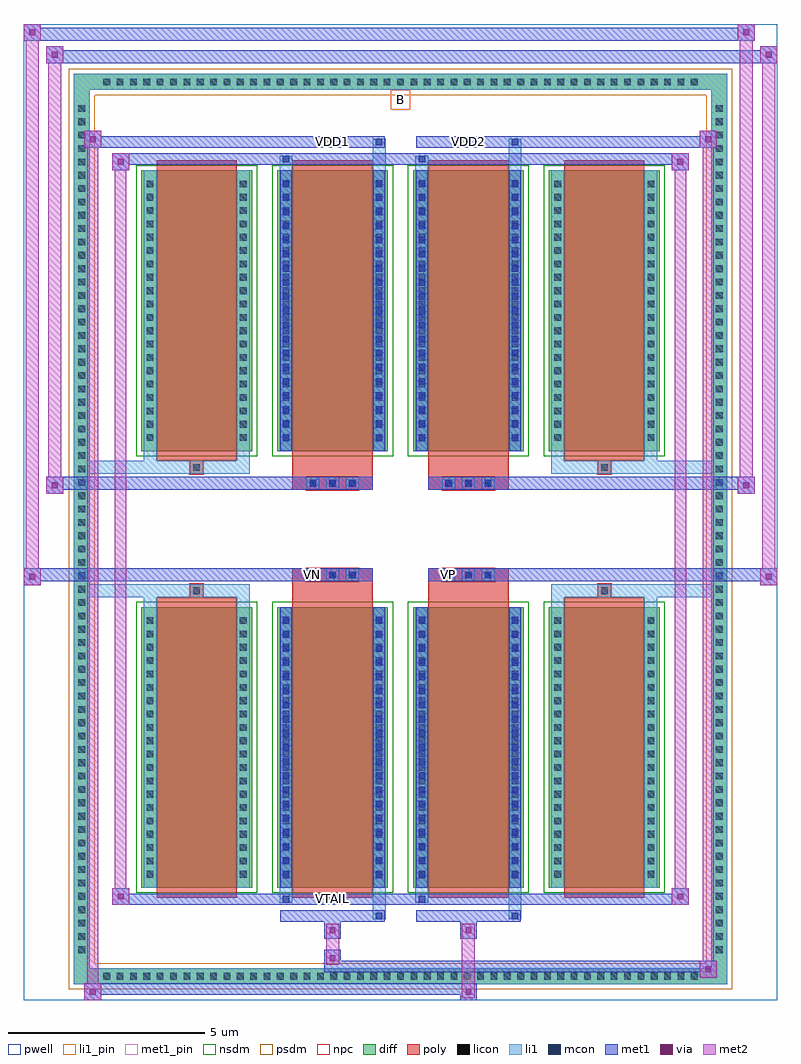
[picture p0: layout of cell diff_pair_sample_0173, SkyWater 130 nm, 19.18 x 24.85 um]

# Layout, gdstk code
import gdstk
lib = gdstk.Library(unit=1e-6, precision=5e-09)
def R(c, l, rs):  # rectangles x0, y0, x1, y1
    for r in rs: c.add(gdstk.rectangle(r[:2], r[2:], *l))
def A(c, l, x, y, w, h, nx, ny, dx, dy):  # array of equal rectangles
    R(c, l, [(x+i*dx, y+j*dy, x+i*dx+w, y+j*dy+h) for i in range(nx) for j in range(ny)])
def P(c, l, *ps):  # polygons
    for p in ps: c.add(gdstk.Polygon(p, *l))
pwell = (64, 44)
diff = (65, 20)
poly = (66, 20)
licon = (66, 44)
li1_pin = (67, 16)
li1 = (67, 20)
mcon = (67, 44)
met1_pin = (68, 16)
met1 = (68, 20)
via = (68, 44)
met2 = (69, 20)
nsdm = (93, 44)
psdm = (94, 20)
npc = (95, 20)

diff_pair_sample_0173 = lib.new_cell('diff_pair_sample_0173')
R(diff_pair_sample_0173, pwell, [(-9.59,-11.99,9.59,12.86), (-6.91,-10.18,-0.01,-0.8), (0.01,-10.18,6.91,-0.8), (-6.91,0.8,-0.01,10.18), (0.01,0.8,6.91,10.18)])
A(diff_pair_sample_0173, diff, -7.685, -11.59, 0.41, 0.41, 45, 2, 0.34, 22.77)
A(diff_pair_sample_0173, diff, -8.32, -10.915, 0.41, 0.41, 1, 64, 0, 0.34)
A(diff_pair_sample_0173, diff, 7.91, -10.915, 0.41, 0.41, 1, 64, 0, 0.34)
A(diff_pair_sample_0173, diff, -6.6, -9.135, 2.82, 7.15, 4, 2, 3.46, 11.12)
R(diff_pair_sample_0173, diff, [(-7.685,-11.59,7.685,-11.18), (-8.32,-10.915,-7.91,10.915), (7.91,-10.915,8.32,10.915), (-7.685,11.18,7.685,11.59)])
P(diff_pair_sample_0173, diff, [(8.32,11.59),(-8.32,11.59),(-8.32,-11.18),(-7.91,-11.18),(-7.91,11.18),(7.91,11.18),(7.91,-11.18),(-7.91,-11.18),(-8.32,-11.18),(-8.32,-11.59),(8.32,-11.59)])
A(diff_pair_sample_0173, poly, -6.21, -9.385, 2.04, 7.65, 4, 2, 3.46, 11.12)
A(diff_pair_sample_0173, poly, -2.395, -1.33, 0.33, 0.33, 3, 2, 0.5, 2.33)
A(diff_pair_sample_0173, poly, 1.065, -1.33, 0.33, 0.33, 3, 2, 0.5, 2.33)
R(diff_pair_sample_0173, poly, [(-5.355,-1.735,-5.025,-1.405), (-5.355,-1.735,-5.025,-1.405), (-2.75,-1.735,-0.71,-1.33), (0.71,-1.735,2.75,-1.33), (5.025,-1.735,5.355,-1.405), (5.025,-1.735,5.355,-1.405), (-2.75,-1.33,-0.71,-1), (0.71,-1.33,2.75,-1), (-2.75,1,-0.71,1.33), (0.71,1,2.75,1.33), (-2.75,1.33,-0.71,1.735), (0.71,1.33,2.75,1.735), (-5.355,1.405,-5.025,1.735), (-5.355,1.405,-5.025,1.735), (5.025,1.405,5.355,1.735), (5.025,1.405,5.355,1.735)])
A(diff_pair_sample_0173, licon, -7.565, -11.47, 0.17, 0.17, 45, 2, 0.34, 22.77)
A(diff_pair_sample_0173, licon, -8.2, -10.795, 0.17, 0.17, 1, 64, 0, 0.34)
A(diff_pair_sample_0173, licon, 8.03, -10.795, 0.17, 0.17, 1, 64, 0, 0.34)
A(diff_pair_sample_0173, licon, -6.46, -8.875, 0.17, 0.17, 1, 20, 0, 0.34)
A(diff_pair_sample_0173, licon, -4.09, -8.875, 0.17, 0.17, 1, 20, 0, 0.34)
A(diff_pair_sample_0173, licon, -3, -8.875, 0.17, 0.17, 1, 20, 0, 0.34)
A(diff_pair_sample_0173, licon, -0.63, -8.875, 0.17, 0.17, 1, 20, 0, 0.34)
A(diff_pair_sample_0173, licon, 0.46, -8.875, 0.17, 0.17, 1, 20, 0, 0.34)
A(diff_pair_sample_0173, licon, 2.83, -8.875, 0.17, 0.17, 1, 20, 0, 0.34)
A(diff_pair_sample_0173, licon, 3.92, -8.875, 0.17, 0.17, 1, 20, 0, 0.34)
A(diff_pair_sample_0173, licon, 6.29, -8.875, 0.17, 0.17, 1, 20, 0, 0.34)
A(diff_pair_sample_0173, licon, -2.315, -1.25, 0.17, 0.17, 3, 2, 0.5, 2.33)
A(diff_pair_sample_0173, licon, 1.145, -1.25, 0.17, 0.17, 3, 2, 0.5, 2.33)
A(diff_pair_sample_0173, licon, -6.46, 2.245, 0.17, 0.17, 1, 20, 0, 0.34)
A(diff_pair_sample_0173, licon, -4.09, 2.245, 0.17, 0.17, 1, 20, 0, 0.34)
A(diff_pair_sample_0173, licon, -3, 2.245, 0.17, 0.17, 1, 20, 0, 0.34)
A(diff_pair_sample_0173, licon, -0.63, 2.245, 0.17, 0.17, 1, 20, 0, 0.34)
A(diff_pair_sample_0173, licon, 0.46, 2.245, 0.17, 0.17, 1, 20, 0, 0.34)
A(diff_pair_sample_0173, licon, 2.83, 2.245, 0.17, 0.17, 1, 20, 0, 0.34)
A(diff_pair_sample_0173, licon, 3.92, 2.245, 0.17, 0.17, 1, 20, 0, 0.34)
A(diff_pair_sample_0173, licon, 6.29, 2.245, 0.17, 0.17, 1, 20, 0, 0.34)
R(diff_pair_sample_0173, licon, [(-5.275,-1.655,-5.105,-1.485), (5.105,-1.655,5.275,-1.485), (-5.275,1.485,-5.105,1.655), (5.105,1.485,5.275,1.655)])
R(diff_pair_sample_0173, li1_pin, [(-0.25,10.68,0.25,11.18)])
A(diff_pair_sample_0173, li1, -7.645, -11.55, 0.33, 0.33, 45, 2, 0.34, 22.77)
A(diff_pair_sample_0173, li1, -8.28, -10.875, 0.33, 0.33, 1, 64, 0, 0.34)
A(diff_pair_sample_0173, li1, 7.95, -10.875, 0.33, 0.33, 1, 64, 0, 0.34)
A(diff_pair_sample_0173, li1, -6.54, -8.955, 0.33, 0.33, 1, 20, 0, 0.34)
A(diff_pair_sample_0173, li1, -4.17, -8.955, 0.33, 0.33, 1, 20, 0, 0.34)
A(diff_pair_sample_0173, li1, -3.08, -8.955, 0.33, 0.33, 1, 20, 0, 0.34)
A(diff_pair_sample_0173, li1, -0.71, -8.955, 0.33, 0.33, 1, 20, 0, 0.34)
A(diff_pair_sample_0173, li1, 0.38, -8.955, 0.33, 0.33, 1, 20, 0, 0.34)
A(diff_pair_sample_0173, li1, 2.75, -8.955, 0.33, 0.33, 1, 20, 0, 0.34)
A(diff_pair_sample_0173, li1, 3.84, -8.955, 0.33, 0.33, 1, 20, 0, 0.34)
A(diff_pair_sample_0173, li1, 6.21, -8.955, 0.33, 0.33, 1, 20, 0, 0.34)
A(diff_pair_sample_0173, li1, -3, -8.885, 0.17, 0.17, 1, 19, 0, 0.36)
A(diff_pair_sample_0173, li1, -0.63, -8.885, 0.17, 0.17, 1, 19, 0, 0.36)
A(diff_pair_sample_0173, li1, 0.46, -8.885, 0.17, 0.17, 1, 19, 0, 0.36)
A(diff_pair_sample_0173, li1, 2.83, -8.885, 0.17, 0.17, 1, 19, 0, 0.36)
A(diff_pair_sample_0173, li1, -2.395, -1.33, 0.33, 0.33, 3, 2, 0.5, 2.33)
A(diff_pair_sample_0173, li1, 1.065, -1.33, 0.33, 0.33, 3, 2, 0.5, 2.33)
A(diff_pair_sample_0173, li1, -6.54, 2.165, 0.33, 0.33, 1, 20, 0, 0.34)
A(diff_pair_sample_0173, li1, -4.17, 2.165, 0.33, 0.33, 1, 20, 0, 0.34)
A(diff_pair_sample_0173, li1, -3.08, 2.165, 0.33, 0.33, 1, 20, 0, 0.34)
A(diff_pair_sample_0173, li1, -0.71, 2.165, 0.33, 0.33, 1, 20, 0, 0.34)
A(diff_pair_sample_0173, li1, 0.38, 2.165, 0.33, 0.33, 1, 20, 0, 0.34)
A(diff_pair_sample_0173, li1, 2.75, 2.165, 0.33, 0.33, 1, 20, 0, 0.34)
A(diff_pair_sample_0173, li1, 3.84, 2.165, 0.33, 0.33, 1, 20, 0, 0.34)
A(diff_pair_sample_0173, li1, 6.21, 2.165, 0.33, 0.33, 1, 20, 0, 0.34)
A(diff_pair_sample_0173, li1, -3, 2.235, 0.17, 0.17, 1, 19, 0, 0.36)
A(diff_pair_sample_0173, li1, -0.63, 2.235, 0.17, 0.17, 1, 19, 0, 0.36)
A(diff_pair_sample_0173, li1, 0.46, 2.235, 0.17, 0.17, 1, 19, 0, 0.36)
A(diff_pair_sample_0173, li1, 2.83, 2.235, 0.17, 0.17, 1, 19, 0, 0.36)
R(diff_pair_sample_0173, li1, [(-8.32,-11.59,-7.91,-11.18), (-8.32,-11.59,-7.91,-11.18), (-7.91,-11.59,7.91,-11.18), (7.91,-11.59,8.32,-11.18), (7.91,-11.59,8.32,-11.18), (-8.32,-11.18,-7.91,11.18), (7.91,-11.18,8.32,11.18), (-0.71,-9.94,-0.38,-9.135), (-0.63,-9.94,-0.46,-9.77), (2.75,-9.94,3.08,-9.135), (2.83,-9.94,3,-9.77), (-3.08,-9.51,-2.75,-9.135), (-3,-9.51,-2.83,-9.34), (0.38,-9.51,0.71,-9.135), (0.46,-9.51,0.63,-9.34), (-6.54,-9.135,-6.21,-1.985), (-4.17,-9.135,-3.84,-1.985), (-3.08,-9.135,-2.75,-1.985), (-0.71,-9.135,-0.38,-1.985), (0.38,-9.135,0.71,-1.985), (2.75,-9.135,3.08,-1.985), (3.84,-9.135,4.17,-1.985), (6.21,-9.135,6.54,-1.985), (-3,-8.885,-2.83,-2.235), (-0.63,-8.885,-0.46,-2.235), (0.46,-8.885,0.63,-2.235), (2.83,-8.885,3,-2.235), (-6.54,-1.985,-6.21,-1.405), (-4.17,-1.985,-3.84,-1.405), (3.84,-1.985,4.17,-1.405), (6.21,-1.985,6.54,-1.405), (-8.32,-1.735,-5.355,-1.405), (-6.54,-1.735,-5.355,-1.405), (-5.355,-1.735,-5.025,-1.405), (-5.025,-1.735,-3.84,-1.405), (3.84,-1.735,5.025,-1.405), (5.025,-1.735,5.355,-1.405), (5.025,-1.735,8.32,-1.405), (5.355,-1.735,6.54,-1.405), (-8.32,1.405,-5.355,1.735), (-6.54,1.405,-5.355,1.735), (-6.54,1.405,-6.21,1.985), (-5.355,1.405,-5.025,1.735), (-5.025,1.405,-3.84,1.735), (-4.17,1.405,-3.84,1.985), (3.84,1.405,5.025,1.735), (3.84,1.405,4.17,1.985), (5.025,1.405,5.355,1.735), (5.025,1.405,8.32,1.735), (5.355,1.405,6.54,1.735), (6.21,1.405,6.54,1.985), (-6.54,1.985,-6.21,9.135), (-4.17,1.985,-3.84,9.135), (-3.08,1.985,-2.75,9.135), (-0.71,1.985,-0.38,9.135), (0.38,1.985,0.71,9.135), (2.75,1.985,3.08,9.135), (3.84,1.985,4.17,9.135), (6.21,1.985,6.54,9.135), (-3,2.235,-2.83,8.885), (-0.63,2.235,-0.46,8.885), (0.46,2.235,0.63,8.885), (2.83,2.235,3,8.885), (-3.08,9.135,-2.75,9.51), (-0.71,9.135,-0.38,9.94), (0.38,9.135,0.71,9.51), (2.75,9.135,3.08,9.94), (-3,9.34,-2.83,9.51), (0.46,9.34,0.63,9.51), (-0.63,9.77,-0.46,9.94), (2.83,9.77,3,9.94), (-8.32,11.18,-7.91,11.59), (-8.32,11.18,-7.91,11.59), (-7.91,11.18,7.91,11.59), (7.91,11.18,8.32,11.59), (7.91,11.18,8.32,11.59)])
A(diff_pair_sample_0173, mcon, -3, -8.885, 0.17, 0.17, 1, 19, 0, 0.36)
A(diff_pair_sample_0173, mcon, -0.63, -8.885, 0.17, 0.17, 1, 19, 0, 0.36)
A(diff_pair_sample_0173, mcon, 0.46, -8.885, 0.17, 0.17, 1, 19, 0, 0.36)
A(diff_pair_sample_0173, mcon, 2.83, -8.885, 0.17, 0.17, 1, 19, 0, 0.36)
A(diff_pair_sample_0173, mcon, -2.315, -1.25, 0.17, 0.17, 3, 2, 0.5, 2.33)
A(diff_pair_sample_0173, mcon, 1.145, -1.25, 0.17, 0.17, 3, 2, 0.5, 2.33)
A(diff_pair_sample_0173, mcon, -3, 2.235, 0.17, 0.17, 1, 19, 0, 0.36)
A(diff_pair_sample_0173, mcon, -0.63, 2.235, 0.17, 0.17, 1, 19, 0, 0.36)
A(diff_pair_sample_0173, mcon, 0.46, 2.235, 0.17, 0.17, 1, 19, 0, 0.36)
A(diff_pair_sample_0173, mcon, 2.83, 2.235, 0.17, 0.17, 1, 19, 0, 0.36)
R(diff_pair_sample_0173, mcon, [(-0.63,-9.94,-0.46,-9.77), (2.83,-9.94,3,-9.77), (-3,-9.51,-2.83,-9.34), (0.46,-9.51,0.63,-9.34), (-3,9.34,-2.83,9.51), (0.46,9.34,0.63,9.51), (-0.63,9.77,-0.46,9.94), (2.83,9.77,3,9.94)])
R(diff_pair_sample_0173, met1_pin, [(-1.865,-9.55,-1.595,-9.28), (-2.365,-1.29,-2.095,-1.02), (1.095,-1.29,1.365,-1.02), (-1.865,9.73,-1.595,10), (1.595,9.73,1.865,10)])
A(diff_pair_sample_0173, met1, -3.06, -8.945, 0.29, 0.29, 1, 19, 0, 0.36)
A(diff_pair_sample_0173, met1, -0.69, -8.945, 0.29, 0.29, 1, 19, 0, 0.36)
A(diff_pair_sample_0173, met1, 0.4, -8.945, 0.29, 0.29, 1, 19, 0, 0.36)
A(diff_pair_sample_0173, met1, 2.77, -8.945, 0.29, 0.29, 1, 19, 0, 0.36)
A(diff_pair_sample_0173, met1, -2.375, -1.31, 0.29, 0.29, 3, 2, 0.5, 2.33)
A(diff_pair_sample_0173, met1, 1.085, -1.31, 0.29, 0.29, 3, 2, 0.5, 2.33)
A(diff_pair_sample_0173, met1, -3.06, 2.175, 0.29, 0.29, 1, 19, 0, 0.36)
A(diff_pair_sample_0173, met1, -0.69, 2.175, 0.29, 0.29, 1, 19, 0, 0.36)
A(diff_pair_sample_0173, met1, 0.4, 2.175, 0.29, 0.29, 1, 19, 0, 0.36)
A(diff_pair_sample_0173, met1, 2.77, 2.175, 0.29, 0.29, 1, 19, 0, 0.36)
R(diff_pair_sample_0173, met1, [(-8.05,-11.99,-7.62,-11.56), (1.515,-11.99,1.945,-11.56), (-8.05,-11.85,1.945,-11.56), (7.62,-11.42,8.05,-10.99), (-1.945,-11.28,8.05,-10.99), (-1.945,-11.14,-1.515,-10.71), (-1.945,-10.43,-1.515,-10), (1.515,-10.43,1.945,-10), (-3.06,-10,-0.4,-9.71), (-0.69,-10,-0.4,-9.71), (0.4,-10,3.06,-9.71), (2.77,-10,3.06,-9.71), (-7.34,-9.57,-6.91,-9.14), (-7.34,-9.57,-3.06,-9.28), (-3.06,-9.57,-2.77,-9.28), (-3.06,-9.57,-0.4,-9.28), (-0.4,-9.57,0.4,-9.28), (0.4,-9.57,0.69,-9.28), (0.4,-9.57,3.06,-9.28), (3.06,-9.57,7.34,-9.28), (6.91,-9.57,7.34,-9.14), (-3.06,-9.135,-2.77,-1.985), (-0.69,-9.135,-0.4,-1.985), (0.4,-9.135,0.69,-1.985), (2.77,-9.135,3.06,-1.985), (-9.59,-1.43,-9.16,-1), (9.16,-1.43,9.59,-1), (-9.59,-1.33,-0.71,-1), (-2.75,-1.33,-0.71,-1), (0.71,-1.33,2.75,-1), (0.71,-1.33,9.59,-1), (-9.02,0.9,-8.59,1.33), (8.59,0.9,9.02,1.33), (-9.02,1,-2.75,1.33), (-2.75,1,-0.71,1.33), (0.71,1,2.75,1.33), (2.75,1,9.02,1.33), (-3.06,1.985,-2.77,9.135), (-0.69,1.985,-0.4,9.135), (0.4,1.985,0.69,9.135), (2.77,1.985,3.06,9.135), (-7.34,9.14,-6.91,9.57), (6.91,9.14,7.34,9.57), (-7.34,9.28,-3.06,9.57), (-3.06,9.28,-2.77,9.57), (-3.06,9.28,-0.4,9.57), (-0.4,9.28,0.4,9.57), (0.4,9.28,0.69,9.57), (0.4,9.28,3.06,9.57), (3.06,9.28,7.34,9.57), (-8.05,9.71,-7.62,10.14), (-8.05,9.71,-3.06,10), (-3.06,9.71,-0.4,10), (-0.69,9.71,-0.4,10), (0.4,9.71,3.06,10), (2.77,9.71,3.06,10), (3.06,9.71,8.05,10), (7.62,9.71,8.05,10.14), (-9.02,11.86,-8.59,12.29), (-9.02,11.86,-6.91,12.19), (-6.91,11.86,6.91,12.19), (6.91,11.86,9.59,12.19), (9.16,11.86,9.59,12.29), (-9.59,12.43,-9.16,12.86), (-9.59,12.43,-6.91,12.76), (-6.91,12.43,6.91,12.76), (6.91,12.43,9.02,12.76), (8.59,12.43,9.02,12.86)])
R(diff_pair_sample_0173, via, [(-7.91,-11.85,-7.76,-11.7), (1.655,-11.85,1.805,-11.7), (7.76,-11.28,7.91,-11.13), (-1.805,-11,-1.655,-10.85), (-1.805,-10.29,-1.655,-10.14), (1.655,-10.29,1.805,-10.14), (-7.2,-9.43,-7.05,-9.28), (7.05,-9.43,7.2,-9.28), (-9.45,-1.29,-9.3,-1.14), (9.3,-1.29,9.45,-1.14), (-8.88,1.04,-8.73,1.19), (8.73,1.04,8.88,1.19), (-7.2,9.28,-7.05,9.43), (7.05,9.28,7.2,9.43), (-7.91,9.85,-7.76,10), (7.76,9.85,7.91,10), (-8.88,12,-8.73,12.15), (9.3,12,9.45,12.15), (-9.45,12.57,-9.3,12.72), (8.73,12.57,8.88,12.72)])
R(diff_pair_sample_0173, met2, [(-8.05,-11.99,-7.62,-11.56), (-7.98,-11.99,-7.69,10.14), (-7.69,-11.99,-7.62,-11.56), (-8,-11.94,-7.67,-11.61), (1.565,-11.94,1.895,-11.61), (1.565,-11.61,1.895,-10.38), (7.62,-11.42,8.05,-10.99), (7.69,-11.42,7.98,10.14), (7.98,-11.42,8.05,-10.99), (7.67,-11.37,8,-11.04), (-1.895,-11.09,-1.565,-10.76), (-1.895,-10.76,-1.565,-10.38), (-1.895,-10.38,-1.565,-10.05), (1.565,-10.38,1.895,-10.05), (-7.34,-9.57,-6.91,-9.14), (-7.27,-9.57,-6.98,9.57), (-6.98,-9.57,-6.91,-9.14), (6.91,-9.57,7.34,-9.14), (6.98,-9.57,7.27,9.57), (7.27,-9.57,7.34,-9.14), (-7.29,-9.52,-6.96,-9.19), (6.96,-9.52,7.29,-9.19), (-9.59,-1.43,-9.16,-1), (-9.54,-1.43,-9.21,12.86), (-9.21,-1.43,-9.16,-1), (9.16,-1.43,9.59,-1), (9.21,-1.43,9.54,12.29), (9.54,-1.43,9.59,-1), (-9.54,-1.38,-9.21,-1.05), (9.21,-1.38,9.54,-1.05), (-9.02,0.9,-8.59,1.33), (-8.97,0.9,-8.64,12.29), (-8.64,0.9,-8.59,1.33), (8.59,0.9,9.02,1.33), (8.64,0.9,8.97,12.86), (8.97,0.9,9.02,1.33), (-8.97,0.95,-8.64,1.28), (8.64,0.95,8.97,1.28), (-7.34,9.14,-6.91,9.57), (-6.98,9.14,-6.91,9.57), (6.91,9.14,7.34,9.57), (7.27,9.14,7.34,9.57), (-7.29,9.19,-6.96,9.52), (6.96,9.19,7.29,9.52), (-8.05,9.71,-7.62,10.14), (-7.69,9.71,-7.62,10.14), (7.62,9.71,8.05,10.14), (7.98,9.71,8.05,10.14), (-8,9.76,-7.67,10.09), (7.67,9.76,8,10.09), (-9.02,11.86,-8.59,12.29), (-8.64,11.86,-8.59,12.29), (9.16,11.86,9.59,12.29), (9.54,11.86,9.59,12.29), (-8.97,11.91,-8.64,12.24), (9.21,11.91,9.54,12.24), (-9.59,12.43,-9.16,12.86), (-9.21,12.43,-9.16,12.86), (8.59,12.43,9.02,12.86), (8.97,12.43,9.02,12.86), (-9.54,12.48,-9.21,12.81), (8.64,12.48,8.97,12.81)])
A(diff_pair_sample_0173, nsdm, -6.73, -9.265, 3.08, 7.41, 4, 2, 3.46, 11.12)
P(diff_pair_sample_0173, psdm, [(8.45,11.72),(-8.45,11.72),(-8.45,-11.05),(-7.78,-11.05),(-7.78,11.05),(7.78,11.05),(7.78,-11.05),(-7.78,-11.05),(-8.45,-11.05),(-8.45,-11.72),(8.45,-11.72)])
A(diff_pair_sample_0173, npc, -2.415, -1.35, 0.37, 0.37, 3, 2, 0.5, 2.33)
A(diff_pair_sample_0173, npc, 1.045, -1.35, 0.37, 0.37, 3, 2, 0.5, 2.33)
R(diff_pair_sample_0173, npc, [(-5.375,-1.755,-5.005,-1.385), (5.005,-1.755,5.375,-1.385), (-2.415,-1.35,-1.545,-0.98), (-2.415,-1.35,-1.545,-0.98), (-1.915,-1.35,-1.045,-0.98), (-1.915,-1.35,-1.045,-0.98), (1.045,-1.35,1.915,-0.98), (1.045,-1.35,1.915,-0.98), (1.545,-1.35,2.415,-0.98), (1.545,-1.35,2.415,-0.98), (-2.415,0.98,-1.545,1.35), (-2.415,0.98,-1.545,1.35), (-1.915,0.98,-1.045,1.35), (-1.915,0.98,-1.045,1.35), (1.045,0.98,1.915,1.35), (1.045,0.98,1.915,1.35), (1.545,0.98,2.415,1.35), (1.545,0.98,2.415,1.35), (-5.375,1.385,-5.005,1.755), (5.005,1.385,5.375,1.755)])
diff_pair_sample_0173.add(gdstk.Label('VTAIL', (-1.73,-9.415), layer=68, texttype=5))
diff_pair_sample_0173.add(gdstk.Label('VN', (-2.23,-1.155), layer=68, texttype=5))
diff_pair_sample_0173.add(gdstk.Label('VP', (1.23,-1.155), layer=68, texttype=5))
diff_pair_sample_0173.add(gdstk.Label('B', (0,10.93), layer=67, texttype=5))
diff_pair_sample_0173.add(gdstk.Label('VDD2', (1.73,9.865), layer=68, texttype=5))
diff_pair_sample_0173.add(gdstk.Label('VDD1', (-1.73,9.865), layer=68, texttype=5))

lib.write_gds('diff_pair_sample_0173.gds')
